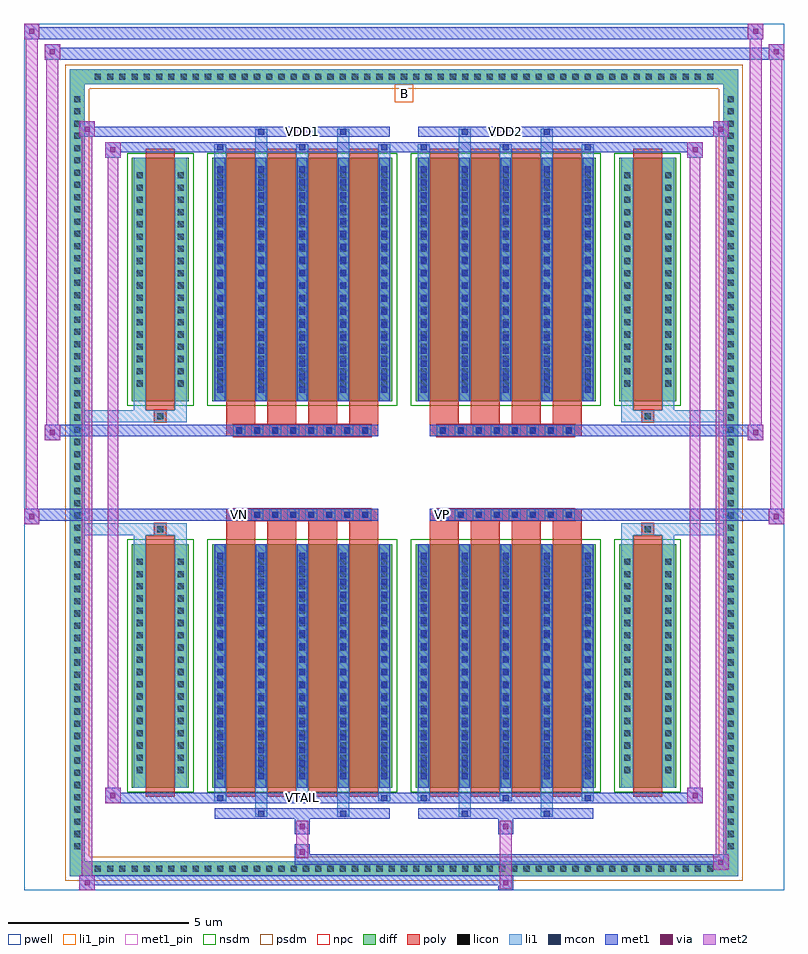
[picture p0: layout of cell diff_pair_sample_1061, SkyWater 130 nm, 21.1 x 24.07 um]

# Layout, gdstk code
import gdstk
lib = gdstk.Library(unit=1e-6, precision=5e-09)
def R(c, l, rs):  # rectangles x0, y0, x1, y1
    for r in rs: c.add(gdstk.rectangle(r[:2], r[2:], *l))
def A(c, l, x, y, w, h, nx, ny, dx, dy):  # array of equal rectangles
    R(c, l, [(x+i*dx, y+j*dy, x+i*dx+w, y+j*dy+h) for i in range(nx) for j in range(ny)])
def P(c, l, *ps):  # polygons
    for p in ps: c.add(gdstk.Polygon(p, *l))
pwell = (64, 44)
diff = (65, 20)
poly = (66, 20)
licon = (66, 44)
li1_pin = (67, 16)
li1 = (67, 20)
mcon = (67, 44)
met1_pin = (68, 16)
met1 = (68, 20)
via = (68, 44)
met2 = (69, 20)
nsdm = (93, 44)
psdm = (94, 20)
npc = (95, 20)

diff_pair_sample_1061 = lib.new_cell('diff_pair_sample_1061')
R(diff_pair_sample_1061, pwell, [(-10.55,-11.6,10.55,12.47), (-7.87,-9.79,-0.01,-0.805), (0.01,-9.79,7.87,-0.805), (-7.87,0.805,-0.01,9.79), (0.01,0.805,7.87,9.79)])
A(diff_pair_sample_1061, diff, -8.705, -11.2, 0.41, 0.41, 51, 2, 0.34, 21.99)
A(diff_pair_sample_1061, diff, -9.28, -10.575, 0.41, 0.41, 1, 62, 0, 0.34)
A(diff_pair_sample_1061, diff, 8.87, -10.575, 0.41, 0.41, 1, 62, 0, 0.34)
R(diff_pair_sample_1061, diff, [(-8.705,-11.2,8.705,-10.79), (-9.28,-10.575,-8.87,10.575), (8.87,-10.575,9.28,10.575), (-7.56,-8.745,-5.97,-1.985), (-5.33,-8.745,-0.32,-1.985), (0.32,-8.745,5.33,-1.985), (5.97,-8.745,7.56,-1.985), (-7.56,1.985,-5.97,8.745), (-5.33,1.985,-0.32,8.745), (0.32,1.985,5.33,8.745), (5.97,1.985,7.56,8.745), (-8.705,10.79,8.705,11.2)])
P(diff_pair_sample_1061, diff, [(9.28,11.2),(-9.28,11.2),(-9.28,-10.79),(-8.87,-10.79),(-8.87,10.79),(8.87,10.79),(8.87,-10.79),(-8.87,-10.79),(-9.28,-10.79),(-9.28,-11.2),(9.28,-11.2)])
A(diff_pair_sample_1061, poly, -4.94, -8.995, 0.81, 7.26, 4, 2, 1.14, 10.73)
A(diff_pair_sample_1061, poly, 0.71, -8.995, 0.81, 7.26, 4, 2, 1.14, 10.73)
A(diff_pair_sample_1061, poly, -4.94, -1.735, 0.81, 0.4, 4, 2, 1.14, 3.07)
A(diff_pair_sample_1061, poly, 0.71, -1.735, 0.81, 0.4, 4, 2, 1.14, 3.07)
A(diff_pair_sample_1061, poly, -4.74, -1.335, 0.33, 0.33, 8, 2, 0.5, 2.34)
A(diff_pair_sample_1061, poly, 0.91, -1.335, 0.33, 0.33, 8, 2, 0.5, 2.34)
R(diff_pair_sample_1061, poly, [(-7.17,-8.995,-6.36,-1.735), (6.36,-8.995,7.17,-1.735), (-6.93,-1.735,-6.6,-1.405), (-6.93,-1.735,-6.6,-1.405), (6.6,-1.735,6.93,-1.405), (6.6,-1.735,6.93,-1.405), (-4.94,-1.335,-0.71,-1.005), (0.71,-1.335,4.94,-1.005), (-4.94,1.005,-0.71,1.335), (0.71,1.005,4.94,1.335), (-6.93,1.405,-6.6,1.735), (-6.93,1.405,-6.6,1.735), (6.6,1.405,6.93,1.735), (6.6,1.405,6.93,1.735), (-7.17,1.735,-6.36,8.995), (6.36,1.735,7.17,8.995)])
A(diff_pair_sample_1061, licon, -8.585, -11.08, 0.17, 0.17, 51, 2, 0.34, 21.99)
A(diff_pair_sample_1061, licon, -9.16, -10.455, 0.17, 0.17, 1, 62, 0, 0.34)
A(diff_pair_sample_1061, licon, 8.99, -10.455, 0.17, 0.17, 1, 62, 0, 0.34)
A(diff_pair_sample_1061, licon, -7.42, -8.34, 0.17, 0.17, 1, 18, 0, 0.34)
A(diff_pair_sample_1061, licon, -6.28, -8.34, 0.17, 0.17, 1, 18, 0, 0.34)
A(diff_pair_sample_1061, licon, -5.19, -8.34, 0.17, 0.17, 5, 18, 1.14, 0.34)
A(diff_pair_sample_1061, licon, 0.46, -8.34, 0.17, 0.17, 5, 18, 1.14, 0.34)
A(diff_pair_sample_1061, licon, 6.11, -8.34, 0.17, 0.17, 1, 18, 0, 0.34)
A(diff_pair_sample_1061, licon, 7.25, -8.34, 0.17, 0.17, 1, 18, 0, 0.34)
A(diff_pair_sample_1061, licon, -4.66, -1.255, 0.17, 0.17, 8, 2, 0.5, 2.34)
A(diff_pair_sample_1061, licon, 0.99, -1.255, 0.17, 0.17, 8, 2, 0.5, 2.34)
A(diff_pair_sample_1061, licon, -7.42, 2.39, 0.17, 0.17, 1, 18, 0, 0.34)
A(diff_pair_sample_1061, licon, -6.28, 2.39, 0.17, 0.17, 1, 18, 0, 0.34)
A(diff_pair_sample_1061, licon, -5.19, 2.39, 0.17, 0.17, 5, 18, 1.14, 0.34)
A(diff_pair_sample_1061, licon, 0.46, 2.39, 0.17, 0.17, 5, 18, 1.14, 0.34)
A(diff_pair_sample_1061, licon, 6.11, 2.39, 0.17, 0.17, 1, 18, 0, 0.34)
A(diff_pair_sample_1061, licon, 7.25, 2.39, 0.17, 0.17, 1, 18, 0, 0.34)
R(diff_pair_sample_1061, licon, [(-6.85,-1.655,-6.68,-1.485), (6.68,-1.655,6.85,-1.485), (-6.85,1.485,-6.68,1.655), (6.68,1.485,6.85,1.655)])
R(diff_pair_sample_1061, li1_pin, [(-0.25,10.29,0.25,10.79)])
A(diff_pair_sample_1061, li1, -8.665, -11.16, 0.33, 0.33, 51, 2, 0.34, 21.99)
A(diff_pair_sample_1061, li1, -9.24, -10.535, 0.33, 0.33, 1, 62, 0, 0.34)
A(diff_pair_sample_1061, li1, 8.91, -10.535, 0.33, 0.33, 1, 62, 0, 0.34)
A(diff_pair_sample_1061, li1, -5.27, -9.12, 0.33, 0.375, 3, 2, 2.28, 17.865)
A(diff_pair_sample_1061, li1, -5.19, -9.12, 0.17, 0.17, 3, 2, 2.28, 18.07)
A(diff_pair_sample_1061, li1, 0.38, -9.12, 0.33, 0.375, 3, 2, 2.28, 17.865)
A(diff_pair_sample_1061, li1, 0.46, -9.12, 0.17, 0.17, 3, 2, 2.28, 18.07)
A(diff_pair_sample_1061, li1, -5.27, -8.745, 0.33, 6.76, 5, 2, 1.14, 10.73)
A(diff_pair_sample_1061, li1, 0.38, -8.745, 0.33, 6.76, 5, 2, 1.14, 10.73)
A(diff_pair_sample_1061, li1, -5.19, -8.51, 0.17, 0.17, 5, 18, 1.14, 0.36)
A(diff_pair_sample_1061, li1, -5.19, -8.51, 0.17, 6.29, 5, 2, 1.14, 10.73)
A(diff_pair_sample_1061, li1, 0.46, -8.51, 0.17, 0.17, 5, 18, 1.14, 0.36)
A(diff_pair_sample_1061, li1, 0.46, -8.51, 0.17, 6.29, 5, 2, 1.14, 10.73)
A(diff_pair_sample_1061, li1, -7.5, -8.42, 0.33, 0.33, 1, 18, 0, 0.34)
A(diff_pair_sample_1061, li1, -6.36, -8.42, 0.33, 0.33, 1, 18, 0, 0.34)
A(diff_pair_sample_1061, li1, -5.27, -8.42, 0.33, 0.33, 5, 18, 1.14, 0.34)
A(diff_pair_sample_1061, li1, 0.38, -8.42, 0.33, 0.33, 5, 18, 1.14, 0.34)
A(diff_pair_sample_1061, li1, 6.03, -8.42, 0.33, 0.33, 1, 18, 0, 0.34)
A(diff_pair_sample_1061, li1, 7.17, -8.42, 0.33, 0.33, 1, 18, 0, 0.34)
A(diff_pair_sample_1061, li1, -4.74, -1.335, 0.33, 0.33, 8, 2, 0.5, 2.34)
A(diff_pair_sample_1061, li1, 0.91, -1.335, 0.33, 0.33, 8, 2, 0.5, 2.34)
A(diff_pair_sample_1061, li1, -5.19, 2.22, 0.17, 0.17, 5, 18, 1.14, 0.36)
A(diff_pair_sample_1061, li1, 0.46, 2.22, 0.17, 0.17, 5, 18, 1.14, 0.36)
A(diff_pair_sample_1061, li1, -7.5, 2.31, 0.33, 0.33, 1, 18, 0, 0.34)
A(diff_pair_sample_1061, li1, -6.36, 2.31, 0.33, 0.33, 1, 18, 0, 0.34)
A(diff_pair_sample_1061, li1, -5.27, 2.31, 0.33, 0.33, 5, 18, 1.14, 0.34)
A(diff_pair_sample_1061, li1, 0.38, 2.31, 0.33, 0.33, 5, 18, 1.14, 0.34)
A(diff_pair_sample_1061, li1, 6.03, 2.31, 0.33, 0.33, 1, 18, 0, 0.34)
A(diff_pair_sample_1061, li1, 7.17, 2.31, 0.33, 0.33, 1, 18, 0, 0.34)
R(diff_pair_sample_1061, li1, [(-9.28,-11.2,-8.87,-10.79), (-9.28,-11.2,-8.87,-10.79), (-8.87,-11.2,8.87,-10.79), (8.87,-11.2,9.28,-10.79), (8.87,-11.2,9.28,-10.79), (-9.28,-10.79,-8.87,10.79), (8.87,-10.79,9.28,10.79), (-4.13,-9.55,-3.8,-8.745), (-4.05,-9.55,-3.88,-9.38), (-1.85,-9.55,-1.52,-8.745), (-1.77,-9.55,-1.6,-9.38), (1.52,-9.55,1.85,-8.745), (1.6,-9.55,1.77,-9.38), (3.8,-9.55,4.13,-8.745), (3.88,-9.55,4.05,-9.38), (-7.5,-8.745,-7.17,-1.985), (-6.36,-8.745,-6.03,-1.985), (6.03,-8.745,6.36,-1.985), (7.17,-8.745,7.5,-1.985), (-7.5,-1.985,-7.17,-1.405), (-6.36,-1.985,-6.03,-1.405), (6.03,-1.985,6.36,-1.405), (7.17,-1.985,7.5,-1.405), (-9.28,-1.735,-6.93,-1.405), (-7.5,-1.735,-6.93,-1.405), (-6.93,-1.735,-6.6,-1.405), (-6.6,-1.735,-6.03,-1.405), (6.03,-1.735,6.6,-1.405), (6.6,-1.735,6.93,-1.405), (6.6,-1.735,9.28,-1.405), (6.93,-1.735,7.5,-1.405), (-9.28,1.405,-6.93,1.735), (-7.5,1.405,-6.93,1.735), (-7.5,1.405,-7.17,1.985), (-6.93,1.405,-6.6,1.735), (-6.6,1.405,-6.03,1.735), (-6.36,1.405,-6.03,1.985), (6.03,1.405,6.6,1.735), (6.03,1.405,6.36,1.985), (6.6,1.405,6.93,1.735), (6.6,1.405,9.28,1.735), (6.93,1.405,7.5,1.735), (7.17,1.405,7.5,1.985), (-7.5,1.985,-7.17,8.745), (-6.36,1.985,-6.03,8.745), (6.03,1.985,6.36,8.745), (7.17,1.985,7.5,8.745), (-4.13,8.745,-3.8,9.55), (-1.85,8.745,-1.52,9.55), (1.52,8.745,1.85,9.55), (3.8,8.745,4.13,9.55), (-4.05,9.38,-3.88,9.55), (-1.77,9.38,-1.6,9.55), (1.6,9.38,1.77,9.55), (3.88,9.38,4.05,9.55), (-9.28,10.79,-8.87,11.2), (-9.28,10.79,-8.87,11.2), (-8.87,10.79,8.87,11.2), (8.87,10.79,9.28,11.2), (8.87,10.79,9.28,11.2)])
A(diff_pair_sample_1061, mcon, -5.19, -9.12, 0.17, 0.17, 3, 2, 2.28, 18.07)
A(diff_pair_sample_1061, mcon, 0.46, -9.12, 0.17, 0.17, 3, 2, 2.28, 18.07)
A(diff_pair_sample_1061, mcon, -5.19, -8.51, 0.17, 0.17, 5, 18, 1.14, 0.36)
A(diff_pair_sample_1061, mcon, 0.46, -8.51, 0.17, 0.17, 5, 18, 1.14, 0.36)
A(diff_pair_sample_1061, mcon, -4.66, -1.255, 0.17, 0.17, 8, 2, 0.5, 2.34)
A(diff_pair_sample_1061, mcon, 0.99, -1.255, 0.17, 0.17, 8, 2, 0.5, 2.34)
A(diff_pair_sample_1061, mcon, -5.19, 2.22, 0.17, 0.17, 5, 18, 1.14, 0.36)
A(diff_pair_sample_1061, mcon, 0.46, 2.22, 0.17, 0.17, 5, 18, 1.14, 0.36)
R(diff_pair_sample_1061, mcon, [(-4.05,-9.55,-3.88,-9.38), (-1.77,-9.55,-1.6,-9.38), (1.6,-9.55,1.77,-9.38), (3.88,-9.55,4.05,-9.38), (-4.05,9.38,-3.88,9.55), (-1.77,9.38,-1.6,9.55), (1.6,9.38,1.77,9.55), (3.88,9.38,4.05,9.55)])
R(diff_pair_sample_1061, met1_pin, [(-2.96,-9.16,-2.69,-8.89), (-4.71,-1.295,-4.44,-1.025), (0.94,-1.295,1.21,-1.025), (-2.96,9.34,-2.69,9.61), (2.69,9.34,2.96,9.61)])
A(diff_pair_sample_1061, met1, -5.25, -9.18, 0.29, 0.29, 3, 2, 2.28, 18.07)
A(diff_pair_sample_1061, met1, 0.4, -9.18, 0.29, 0.29, 3, 2, 2.28, 18.07)
A(diff_pair_sample_1061, met1, -5.25, -8.745, 0.29, 6.76, 5, 2, 1.14, 10.73)
A(diff_pair_sample_1061, met1, 0.4, -8.745, 0.29, 6.76, 5, 2, 1.14, 10.73)
A(diff_pair_sample_1061, met1, -5.25, -8.57, 0.29, 0.29, 5, 18, 1.14, 0.36)
A(diff_pair_sample_1061, met1, 0.4, -8.57, 0.29, 0.29, 5, 18, 1.14, 0.36)
A(diff_pair_sample_1061, met1, -4.72, -1.315, 0.29, 0.29, 8, 2, 0.5, 2.34)
A(diff_pair_sample_1061, met1, 0.93, -1.315, 0.29, 0.29, 8, 2, 0.5, 2.34)
A(diff_pair_sample_1061, met1, -5.25, 2.16, 0.29, 0.29, 5, 18, 1.14, 0.36)
A(diff_pair_sample_1061, met1, 0.4, 2.16, 0.29, 0.29, 5, 18, 1.14, 0.36)
R(diff_pair_sample_1061, met1, [(-9.01,-11.6,-8.58,-11.17), (2.61,-11.6,3.04,-11.17), (-9.01,-11.46,3.04,-11.17), (8.58,-11.03,9.01,-10.6), (-3.04,-10.89,9.01,-10.6), (-3.04,-10.75,-2.61,-10.32), (-3.04,-10.04,-2.61,-9.61), (2.61,-10.04,3.04,-9.61), (-5.25,-9.61,-0.4,-9.32), (-4.11,-9.61,-3.82,-9.32), (-1.83,-9.61,-1.54,-9.32), (0.4,-9.61,5.25,-9.32), (1.54,-9.61,1.83,-9.32), (3.82,-9.61,4.11,-9.32), (-8.3,-9.18,-7.87,-8.75), (-8.3,-9.18,-5.25,-8.89), (-5.25,-9.18,-0.4,-8.89), (-0.4,-9.18,0.4,-8.89), (0.4,-9.18,5.25,-8.89), (5.25,-9.18,8.3,-8.89), (7.87,-9.18,8.3,-8.75), (-10.55,-1.435,-10.12,-1.005), (10.12,-1.435,10.55,-1.005), (-10.55,-1.335,-0.71,-1.005), (-4.94,-1.335,-0.71,-1.005), (0.71,-1.335,4.94,-1.005), (0.71,-1.335,10.55,-1.005), (-9.98,0.905,-9.55,1.335), (9.55,0.905,9.98,1.335), (-9.98,1.005,-4.94,1.335), (-4.94,1.005,-0.71,1.335), (0.71,1.005,4.94,1.335), (4.94,1.005,9.98,1.335), (-8.3,8.75,-7.87,9.18), (7.87,8.75,8.3,9.18), (-8.3,8.89,-5.25,9.18), (-5.25,8.89,-0.4,9.18), (-0.4,8.89,0.4,9.18), (0.4,8.89,5.25,9.18), (5.25,8.89,8.3,9.18), (-9.01,9.32,-8.58,9.75), (-9.01,9.32,-5.25,9.61), (-5.25,9.32,-0.4,9.61), (-4.11,9.32,-3.82,9.61), (-1.83,9.32,-1.54,9.61), (0.4,9.32,5.25,9.61), (1.54,9.32,1.83,9.61), (3.82,9.32,4.11,9.61), (5.25,9.32,9.01,9.61), (8.58,9.32,9.01,9.75), (-9.98,11.47,-9.55,11.9), (-9.98,11.47,-7.87,11.8), (-7.87,11.47,7.87,11.8), (7.87,11.47,10.55,11.8), (10.12,11.47,10.55,11.9), (-10.55,12.04,-10.12,12.47), (-10.55,12.04,-7.87,12.37), (-7.87,12.04,7.87,12.37), (7.87,12.04,9.98,12.37), (9.55,12.04,9.98,12.47)])
R(diff_pair_sample_1061, via, [(-8.87,-11.46,-8.72,-11.31), (2.75,-11.46,2.9,-11.31), (8.72,-10.89,8.87,-10.74), (-2.9,-10.61,-2.75,-10.46), (-2.9,-9.9,-2.75,-9.75), (2.75,-9.9,2.9,-9.75), (-8.16,-9.04,-8.01,-8.89), (8.01,-9.04,8.16,-8.89), (-10.41,-1.295,-10.26,-1.145), (10.26,-1.295,10.41,-1.145), (-9.84,1.045,-9.69,1.195), (9.69,1.045,9.84,1.195), (-8.16,8.89,-8.01,9.04), (8.01,8.89,8.16,9.04), (-8.87,9.46,-8.72,9.61), (8.72,9.46,8.87,9.61), (-9.84,11.61,-9.69,11.76), (10.26,11.61,10.41,11.76), (-10.41,12.18,-10.26,12.33), (9.69,12.18,9.84,12.33)])
R(diff_pair_sample_1061, met2, [(-9.01,-11.6,-8.58,-11.17), (-8.94,-11.6,-8.65,9.75), (-8.65,-11.6,-8.58,-11.17), (-8.96,-11.55,-8.63,-11.22), (2.66,-11.55,2.99,-11.22), (2.66,-11.22,2.99,-9.99), (8.58,-11.03,9.01,-10.6), (8.65,-11.03,8.94,9.75), (8.94,-11.03,9.01,-10.6), (8.63,-10.98,8.96,-10.65), (-2.99,-10.7,-2.66,-10.37), (-2.99,-10.37,-2.66,-9.99), (-2.99,-9.99,-2.66,-9.66), (2.66,-9.99,2.99,-9.66), (-8.3,-9.18,-7.87,-8.75), (-8.23,-9.18,-7.94,9.18), (-7.94,-9.18,-7.87,-8.75), (7.87,-9.18,8.3,-8.75), (7.94,-9.18,8.23,9.18), (8.23,-9.18,8.3,-8.75), (-8.25,-9.13,-7.92,-8.8), (7.92,-9.13,8.25,-8.8), (-10.55,-1.435,-10.12,-1.005), (-10.5,-1.435,-10.17,12.47), (-10.17,-1.435,-10.12,-1.005), (10.12,-1.435,10.55,-1.005), (10.17,-1.435,10.5,11.9), (10.5,-1.435,10.55,-1.005), (-10.5,-1.385,-10.17,-1.055), (10.17,-1.385,10.5,-1.055), (-9.98,0.905,-9.55,1.335), (-9.93,0.905,-9.6,11.9), (-9.6,0.905,-9.55,1.335), (9.55,0.905,9.98,1.335), (9.6,0.905,9.93,12.47), (9.93,0.905,9.98,1.335), (-9.93,0.955,-9.6,1.285), (9.6,0.955,9.93,1.285), (-8.3,8.75,-7.87,9.18), (-7.94,8.75,-7.87,9.18), (7.87,8.75,8.3,9.18), (8.23,8.75,8.3,9.18), (-8.25,8.8,-7.92,9.13), (7.92,8.8,8.25,9.13), (-9.01,9.32,-8.58,9.75), (-8.65,9.32,-8.58,9.75), (8.58,9.32,9.01,9.75), (8.94,9.32,9.01,9.75), (-8.96,9.37,-8.63,9.7), (8.63,9.37,8.96,9.7), (-9.98,11.47,-9.55,11.9), (-9.6,11.47,-9.55,11.9), (10.12,11.47,10.55,11.9), (10.5,11.47,10.55,11.9), (-9.93,11.52,-9.6,11.85), (10.17,11.52,10.5,11.85), (-10.55,12.04,-10.12,12.47), (-10.17,12.04,-10.12,12.47), (9.55,12.04,9.98,12.47), (9.93,12.04,9.98,12.47), (-10.5,12.09,-10.17,12.42), (9.6,12.09,9.93,12.42)])
R(diff_pair_sample_1061, nsdm, [(-7.69,-8.875,-5.84,-1.855), (-5.46,-8.875,-0.19,-1.855), (0.19,-8.875,5.46,-1.855), (5.84,-8.875,7.69,-1.855), (-7.69,1.855,-5.84,8.875), (-5.46,1.855,-0.19,8.875), (0.19,1.855,5.46,8.875), (5.84,1.855,7.69,8.875)])
P(diff_pair_sample_1061, psdm, [(9.41,11.33),(-9.41,11.33),(-9.41,-10.66),(-8.74,-10.66),(-8.74,10.66),(8.74,10.66),(8.74,-10.66),(-8.74,-10.66),(-9.41,-10.66),(-9.41,-11.33),(9.41,-11.33)])
A(diff_pair_sample_1061, npc, -4.76, -1.355, 0.37, 0.37, 8, 2, 0.5, 2.34)
A(diff_pair_sample_1061, npc, 0.89, -1.355, 0.37, 0.37, 8, 2, 0.5, 2.34)
R(diff_pair_sample_1061, npc, [(-6.95,-1.755,-6.58,-1.385), (6.58,-1.755,6.95,-1.385), (-4.76,-1.355,-3.89,-0.985), (-4.76,-1.355,-3.89,-0.985), (-4.26,-1.355,-3.39,-0.985), (-4.26,-1.355,-3.39,-0.985), (-3.76,-1.355,-2.89,-0.985), (-3.76,-1.355,-2.89,-0.985), (-3.26,-1.355,-2.39,-0.985), (-3.26,-1.355,-2.39,-0.985), (-2.76,-1.355,-1.89,-0.985), (-2.76,-1.355,-1.89,-0.985), (-2.26,-1.355,-1.39,-0.985), (-2.26,-1.355,-1.39,-0.985), (-1.76,-1.355,-0.89,-0.985), (-1.76,-1.355,-0.89,-0.985), (0.89,-1.355,1.76,-0.985), (0.89,-1.355,1.76,-0.985), (1.39,-1.355,2.26,-0.985), (1.39,-1.355,2.26,-0.985), (1.89,-1.355,2.76,-0.985), (1.89,-1.355,2.76,-0.985), (2.39,-1.355,3.26,-0.985), (2.39,-1.355,3.26,-0.985), (2.89,-1.355,3.76,-0.985), (2.89,-1.355,3.76,-0.985), (3.39,-1.355,4.26,-0.985), (3.39,-1.355,4.26,-0.985), (3.89,-1.355,4.76,-0.985), (3.89,-1.355,4.76,-0.985), (-4.76,0.985,-3.89,1.355), (-4.76,0.985,-3.89,1.355), (-4.26,0.985,-3.39,1.355), (-4.26,0.985,-3.39,1.355), (-3.76,0.985,-2.89,1.355), (-3.76,0.985,-2.89,1.355), (-3.26,0.985,-2.39,1.355), (-3.26,0.985,-2.39,1.355), (-2.76,0.985,-1.89,1.355), (-2.76,0.985,-1.89,1.355), (-2.26,0.985,-1.39,1.355), (-2.26,0.985,-1.39,1.355), (-1.76,0.985,-0.89,1.355), (-1.76,0.985,-0.89,1.355), (0.89,0.985,1.76,1.355), (0.89,0.985,1.76,1.355), (1.39,0.985,2.26,1.355), (1.39,0.985,2.26,1.355), (1.89,0.985,2.76,1.355), (1.89,0.985,2.76,1.355), (2.39,0.985,3.26,1.355), (2.39,0.985,3.26,1.355), (2.89,0.985,3.76,1.355), (2.89,0.985,3.76,1.355), (3.39,0.985,4.26,1.355), (3.39,0.985,4.26,1.355), (3.89,0.985,4.76,1.355), (3.89,0.985,4.76,1.355), (-6.95,1.385,-6.58,1.755), (6.58,1.385,6.95,1.755)])
diff_pair_sample_1061.add(gdstk.Label('VTAIL', (-2.825,-9.025), layer=68, texttype=5))
diff_pair_sample_1061.add(gdstk.Label('VN', (-4.575,-1.16), layer=68, texttype=5))
diff_pair_sample_1061.add(gdstk.Label('VP', (1.075,-1.16), layer=68, texttype=5))
diff_pair_sample_1061.add(gdstk.Label('B', (0,10.54), layer=67, texttype=5))
diff_pair_sample_1061.add(gdstk.Label('VDD2', (2.825,9.475), layer=68, texttype=5))
diff_pair_sample_1061.add(gdstk.Label('VDD1', (-2.825,9.475), layer=68, texttype=5))

lib.write_gds('diff_pair_sample_1061.gds')
